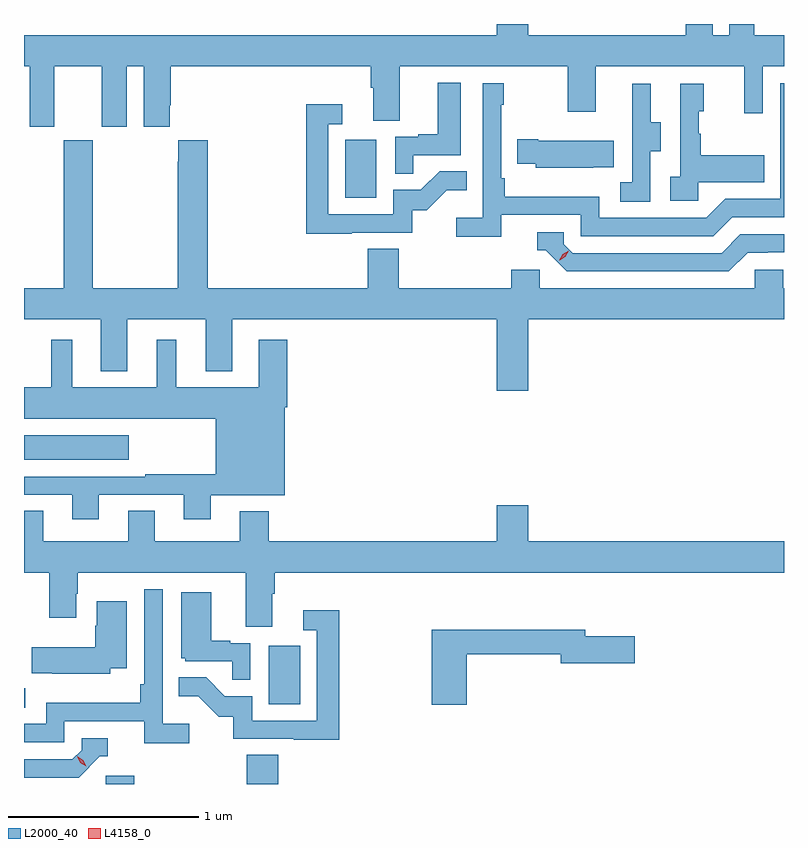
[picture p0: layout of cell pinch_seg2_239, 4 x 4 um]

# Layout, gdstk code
import gdstk
lib = gdstk.Library(unit=1e-6, precision=1e-09)
def R(c, l, rs):  # rectangles x0, y0, x1, y1
    for r in rs: c.add(gdstk.rectangle(r[:2], r[2:], *l))
def P(c, l, *ps):  # polygons
    for p in ps: c.add(gdstk.Polygon(p, *l))
L2000_40 = (2000, 40)
L4158_0 = (4158, 0)

pinch_seg2_239 = lib.new_cell('pinch_seg2_239')
R(pinch_seg2_239, L2000_40, [(942.168,645.191,942.32,645.234), (942.911,645.191,943.076,645.344), (941.739,645.592,941.746,645.695), (943.028,645.612,943.192,645.919), (941.739,646.898,942.289,647.026), (943.43,648.276,943.594,648.583)])
P(pinch_seg2_239, L2000_40, [(945.452,649.191),(945.452,649.132),(945.364,649.132),(945.364,649.191),(945.221,649.191),(945.221,649.132),(944.392,649.132),(944.392,649.191),(944.228,649.191),(944.228,649.132),(941.739,649.132),(941.739,648.968),(941.768,648.968),(941.768,648.651),(941.899,648.651),(941.899,648.968),(942.149,648.968),(942.149,648.651),(942.28,648.651),(942.28,648.968),(942.368,648.968),(942.368,648.651),(942.505,648.651),(942.505,648.763),(942.512,648.763),(942.512,648.968),(943.565,648.968),(943.565,648.856),(943.577,648.856),(943.577,648.682),(943.717,648.682),(943.717,648.968),(944.602,648.968),(944.602,648.729),(944.749,648.729),(944.749,648.968),(945.53,648.968),(945.53,648.72),(945.627,648.72),(945.627,648.968),(945.739,648.968),(945.739,649.132),(945.583,649.132),(945.583,649.191)],
  [(943.787,648.501),(944.038,648.501),(944.038,648.883),(943.916,648.883),(943.916,648.61),(943.813,648.61),(943.813,648.597),(943.692,648.597),(943.692,648.403),(943.787,648.403)],
  [(944.252,648.186),(944.67,648.186),(944.67,648.075),(945.367,648.075),(945.466,648.174),(945.739,648.174),(945.739,648.879),(945.72,648.879),(945.72,648.27),(945.429,648.27),(945.33,648.171),(944.766,648.171),(944.766,648.283),(944.27,648.283),(944.27,648.379),(944.25,648.379),(944.25,648.767),(944.263,648.767),(944.263,648.88),(944.154,648.88),(944.154,648.172),(944.013,648.172),(944.013,648.07),(944.252,648.07)],
  [(945.288,648.359),(945.635,648.359),(945.635,648.499),(945.301,648.499),(945.301,648.614),(945.291,648.614),(945.291,648.732),(945.316,648.732),(945.316,648.877),(945.192,648.877),(945.192,648.386),(945.141,648.386),(945.141,648.261),(945.288,648.261)],
  [(945.036,648.52),(945.091,648.52),(945.091,648.675),(945.037,648.675),(945.037,648.877),(944.939,648.877),(944.939,648.663),(944.94,648.663),(944.94,648.359),(944.877,648.359),(944.877,648.256),(945.036,648.256)],
  [(943.463,648.093),(943.782,648.093),(943.782,648.21),(943.858,648.21),(943.965,648.317),(944.069,648.317),(944.069,648.416),(943.926,648.416),(943.828,648.318),(943.683,648.318),(943.683,648.189),(943.341,648.189),(943.341,648.663),(943.414,648.663),(943.414,648.769),(943.225,648.769),(943.225,648.088),(943.463,648.088)],
  [(944.735,648.437),(944.843,648.437),(944.843,648.577),(944.446,648.577),(944.446,648.585),(944.335,648.585),(944.335,648.455),(944.433,648.455),(944.433,648.434),(944.735,648.434)],
  [(944.392,647.636),(945.739,647.636),(945.739,647.8),(945.735,647.8),(945.735,647.898),(945.585,647.898),(945.585,647.8),(944.454,647.8),(944.454,647.898),(944.303,647.898),(944.303,647.8),(943.712,647.8),(943.712,648.008),(943.547,648.008),(943.547,647.8),(942.707,647.8),(942.707,648.58),(942.551,648.58),(942.551,648.467),(942.547,648.467),(942.547,647.8),(942.102,647.8),(942.102,648.58),(941.947,648.58),(941.947,647.8),(941.739,647.8),(941.739,647.636),(942.143,647.636),(942.143,647.363),(942.283,647.363),(942.283,647.636),(942.695,647.636),(942.695,647.363),(942.835,647.363),(942.835,647.636),(944.228,647.636),(944.228,647.262),(944.392,647.262)],
  [(945.547,647.988),(945.654,647.988),(945.654,647.991),(945.739,647.991),(945.739,648.084),(945.51,648.084),(945.411,647.985),(944.628,647.985),(944.58,648.033),(944.58,648.096),(944.441,648.096),(944.441,648),(944.484,648),(944.595,647.889),(945.448,647.889)],
  [(942.133,646.713),(942.581,646.713),(942.581,646.584),(942.721,646.584),(942.721,646.712),(943.111,646.712),(943.111,647.174),(943.124,647.174),(943.124,647.53),(942.974,647.53),(942.974,647.278),(942.541,647.278),(942.541,647.53),(942.437,647.53),(942.437,647.278),(941.992,647.278),(941.992,647.53),(941.882,647.53),(941.882,647.278),(941.739,647.278),(941.739,647.114),(942.749,647.114),(942.749,646.822),(942.376,646.822),(942.376,646.809),(941.739,646.809),(941.739,646.713),(941.993,646.713),(941.993,646.584),(942.133,646.584)],
  [(943.045,646.192),(943.058,646.192),(943.058,646.304),(945.739,646.304),(945.739,646.468),(944.392,646.468),(944.392,646.657),(944.228,646.657),(944.228,646.468),(943.028,646.468),(943.028,646.627),(942.875,646.627),(942.875,646.468),(942.427,646.468),(942.427,646.628),(942.287,646.628),(942.287,646.468),(941.839,646.468),(941.839,646.628),(941.739,646.628),(941.739,646.304),(941.873,646.304),(941.873,646.065),(942.013,646.065),(942.013,646.193),(942.021,646.193),(942.021,646.304),(942.905,646.304),(942.905,646.018),(943.045,646.018)],
  [(942.61,645.508),(942.468,645.508),(942.468,646.216),(942.372,646.216),(942.372,645.715),(942.352,645.715),(942.352,645.619),(941.856,645.619),(941.856,645.507),(941.739,645.507),(941.739,645.411),(941.952,645.411),(941.952,645.522),(942.371,645.522),(942.371,645.406),(942.61,645.406)],
  [(942.93,645.933),(942.824,645.933),(942.824,645.946),(942.724,645.946),(942.724,646.201),(942.566,646.201),(942.566,645.852),(942.588,645.852),(942.588,645.837),(942.835,645.837),(942.835,645.739),(942.93,645.739)],
  [(942.193,645.8),(942.28,645.8),(942.28,646.153),(942.122,646.153),(942.122,646.023),(942.115,646.023),(942.115,645.91),(941.779,645.91),(941.779,645.773),(941.887,645.773),(941.887,645.77),(942.193,645.77)],
  [(943.397,646.105),(943.209,646.105),(943.209,645.999),(943.281,645.999),(943.281,645.525),(942.939,645.525),(942.939,645.654),(942.795,645.654),(942.697,645.752),(942.553,645.752),(942.553,645.653),(942.657,645.653),(942.764,645.546),(942.841,645.546),(942.841,645.429),(943.159,645.429),(943.159,645.424),(943.397,645.424)],
  [(944.069,645.874),(944.564,645.874),(944.564,645.827),(944.953,645.827),(944.953,645.969),(944.692,645.969),(944.692,646.003),(943.886,646.003),(943.886,645.609),(944.069,645.609)],
  [(942.138,645.336),(942.181,645.336),(942.181,645.432),(942.042,645.432),(942.042,645.369),(941.994,645.321),(941.739,645.321),(941.739,645.225),(942.027,645.225)])
P(pinch_seg2_239, L4158_0, [(944.557,647.947),(944.557,647.947),(944.574,647.979),(944.605,647.998),(944.605,647.998),(944.605,647.998),(944.588,647.966),(944.558,647.947)],
  [(942.066,645.284),(942.036,645.304),(942.02,645.336),(942.02,645.337),(942.02,645.337),(942.051,645.317),(942.066,645.284),(942.066,645.284)])

lib.write_gds('pinch_seg2_239.gds')
